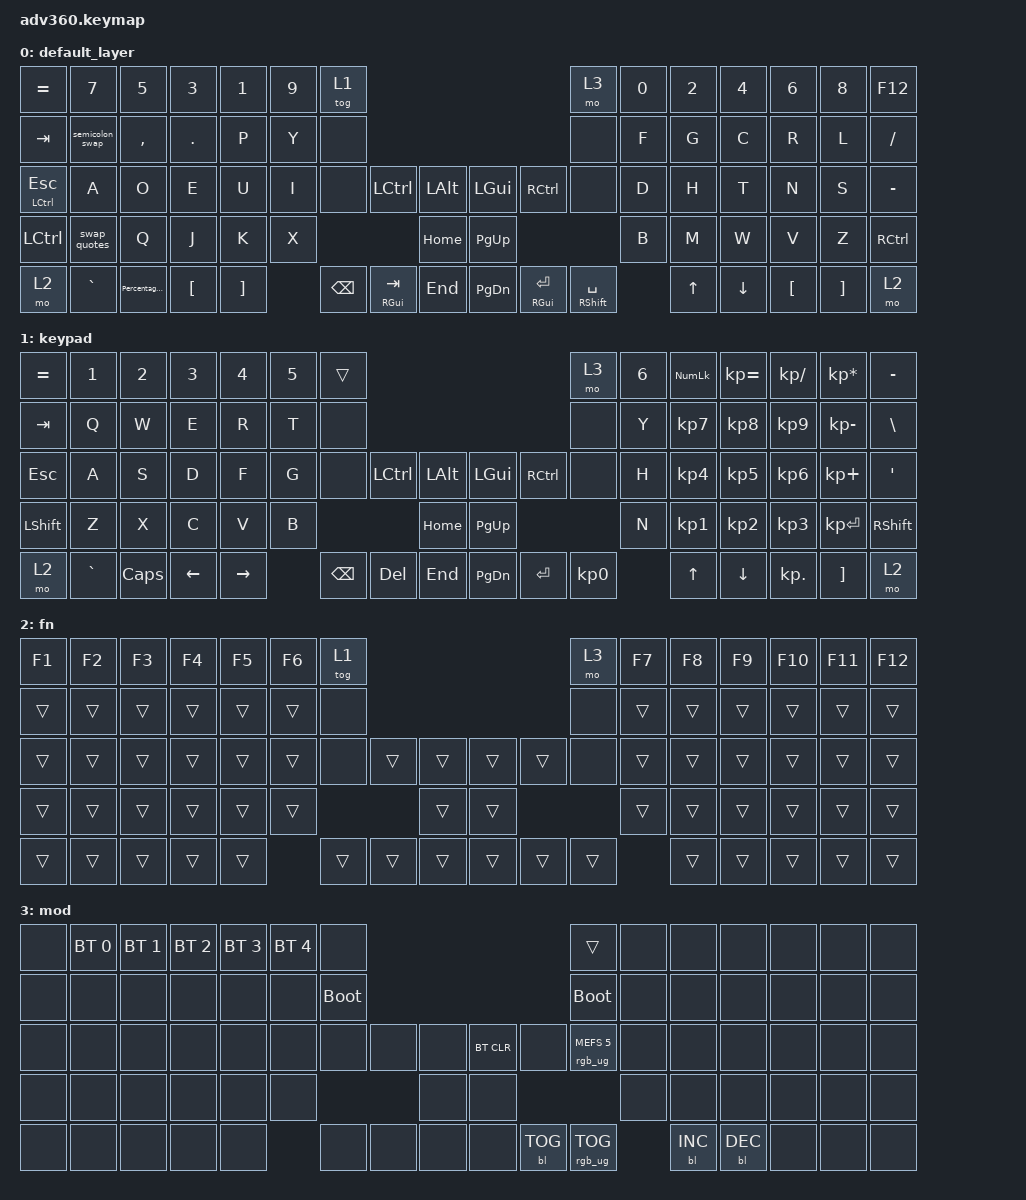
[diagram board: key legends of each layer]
#include <behaviors.dtsi>
#include <dt-bindings/zmk/backlight.h>
#include <dt-bindings/zmk/bt.h>
#include <dt-bindings/zmk/keys.h>
#include <dt-bindings/zmk/rgb.h>

&caps_word {
};

/ {
    behaviors {
        #include "macros.dtsi"

        hm: homerow_mods {
            compatible = "zmk,behavior-hold-tap";
            label = "HOMEROW_MODS";
            #binding-cells = <2>;
            tapping-term-ms = <175>;
            quick_tap_ms = <175>;
            flavor = "hold-preferred";
            bindings =
                <&kp>,
                <&kp>;
        };
        semicolon_swap: semicolon_swap {
            compatible = "zmk,behavior-mod-morph";
            label = "SEMICOLON_SWAP";
            bindings =
                <&kp COLON>,
                <&kp SEMICOLON>;

            #binding-cells = <0>;
            mods = <(MOD_LSFT|MOD_RSFT)>;
        };
        swap_quotes: swap_quotes {
            compatible = "zmk,behavior-mod-morph";
            label = "SWAP_QUOTES";
            bindings =
                <&kp DOUBLE_QUOTES>,
                <&kp SQT>;

            #binding-cells = <0>;
            mods = <(MOD_LSFT|MOD_RSFT)>;
        };
        AorMap: AorMap {
            compatible = "zmk,behavior-tap-dance";
            label = "AORMAP";
            #binding-cells = <0>;
            bindings =
                <&kp A>,
                <&kp A>,
                <&ElixirMap>;

            tapping-term-ms = <150>;
        };
        PercentageOrAmp: PercentageOrAmp {
            compatible = "zmk,behavior-mod-morph";
            label = "PERCENTAGEORAMP";
            bindings =
                <&kp AMPERSAND>,
                <&kp PERCENT>,
                <&none>;

            #binding-cells = <0>;
            mods = <(MOD_RSFT)>;
        };
    };

    macros {
        ElixirMap: ElixirMap {
            compatible = "zmk,behavior-macro";
            label = "ELIXIRMAP";
            #binding-cells = <0>;
            bindings = <&kp PRCNT &kp LBRC &kp RBRC>;
        };
    };

    keymap {
        compatible = "zmk,keymap";

        default_layer {
            bindings = <
&kp EQUAL      &kp N7           &kp N5            &kp N3            &kp N1             &kp N9  &tog 1                                                                &mo 3                  &kp N0  &kp N2  &kp N4    &kp N6    &kp N8    &kp F12
&kp TAB        &semicolon_swap  &kp COMMA         &kp PERIOD        &kp P              &kp Y   &none                                                                 &none                  &kp F   &kp G   &kp C     &kp R     &kp L     &kp FSLH
&hm LCTRL ESC  &kp A            &kp O             &kp E             &kp U              &kp I   &none     &kp LCTRL          &kp LALT      &kp LGUI   &kp RCTRL       &none                  &kp D   &kp H   &kp T     &kp N     &kp S     &kp MINUS
&kp LCTRL      &swap_quotes     &kp Q             &kp J             &kp K              &kp X                                &kp HOME      &kp PG_UP                                         &kp B   &kp M   &kp W     &kp V     &kp Z     &kp RCTRL
&mo 2          &kp GRAVE        &PercentageOrAmp  &kp LEFT_BRACKET  &kp RIGHT_BRACKET          &kp BSPC  &hm RIGHT_GUI TAB  &kp END       &kp PG_DN  &mt RGUI ENTER  &hm RIGHT_SHIFT SPACE          &kp UP  &kp DOWN  &kp LBKT  &kp RBKT  &mo 2
            >;
        };

        keypad {
            bindings = <
&kp EQUAL  &kp N1     &kp N2    &kp N3    &kp N4     &kp N5  &trans                                                   &mo 3      &kp N6  &kp KP_NUM  &kp KP_EQUAL  &kp KP_DIVIDE  &kp KP_MULTIPLY  &kp MINUS
&kp TAB    &kp Q      &kp W     &kp E     &kp R      &kp T   &none                                                    &none      &kp Y   &kp KP_N7   &kp KP_N8     &kp KP_N9      &kp KP_MINUS     &kp BSLH
&kp ESC    &kp A      &kp S     &kp D     &kp F      &kp G   &none     &kp LCTRL  &kp LALT      &kp LGUI   &kp RCTRL  &none      &kp H   &kp KP_N4   &kp KP_N5     &kp KP_N6      &kp KP_PLUS      &kp SQT
&kp LSHFT  &kp Z      &kp X     &kp C     &kp V      &kp B                        &kp HOME      &kp PG_UP                        &kp N   &kp KP_N1   &kp KP_N2     &kp KP_N3      &kp KP_ENTER     &kp RSHFT
&mo 2      &kp GRAVE  &kp CAPS  &kp LEFT  &kp RIGHT          &kp BSPC  &kp DEL    &kp END       &kp PG_DN  &kp ENTER  &kp KP_N0          &kp UP      &kp DOWN      &kp KP_DOT     &kp RBKT         &mo 2
            >;
        };

        fn {
            bindings = <
&kp F1  &kp F2  &kp F3  &kp F4  &kp F5  &kp F6  &tog 1                                      &mo 3   &kp F7  &kp F8  &kp F9  &kp F10  &kp F11  &kp F12
&trans  &trans  &trans  &trans  &trans  &trans  &none                                       &none   &trans  &trans  &trans  &trans   &trans   &trans
&trans  &trans  &trans  &trans  &trans  &trans  &none   &trans  &trans      &trans  &trans  &none   &trans  &trans  &trans  &trans   &trans   &trans
&trans  &trans  &trans  &trans  &trans  &trans                  &trans      &trans                  &trans  &trans  &trans  &trans   &trans   &trans
&trans  &trans  &trans  &trans  &trans          &trans  &trans  &trans      &trans  &trans  &trans          &trans  &trans  &trans   &trans   &trans
            >;
        };

        mod {
            bindings = <
&none  &bt BT_SEL 0  &bt BT_SEL 1  &bt BT_SEL 2  &bt BT_SEL 3  &bt BT_SEL 4  &none                                                  &trans                  &none  &none       &none       &none  &none  &none
&none  &none         &none         &none         &none         &none         &bootloader                                            &bootloader             &none  &none       &none       &none  &none  &none
&none  &none         &none         &none         &none         &none         &none        &none  &none      &bt BT_CLR  &none       &rgb_ug RGB_MEFS_CMD 5  &none  &none       &none       &none  &none  &none
&none  &none         &none         &none         &none         &none                             &none      &none                                           &none  &none       &none       &none  &none  &none
&none  &none         &none         &none         &none                       &none        &none  &none      &none       &bl BL_TOG  &rgb_ug RGB_TOG                &bl BL_INC  &bl BL_DEC  &none  &none  &none
            >;
        };
    };
};
